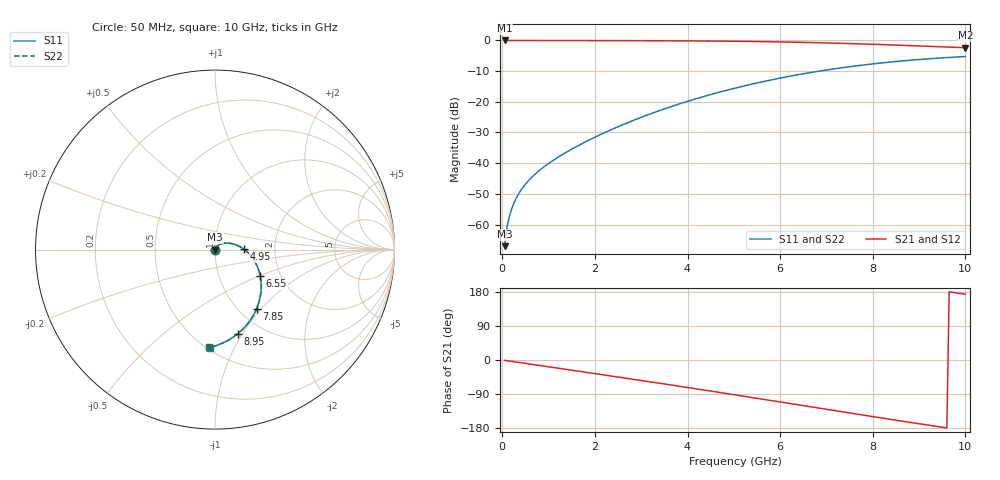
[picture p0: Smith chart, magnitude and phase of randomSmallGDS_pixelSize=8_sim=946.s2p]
! freq	dB(S11)	phase(S11)	dB(S12)	phase(S12)
!  dB(S21)	phase(S21)	dB(S22)	phase(S22)
!S-par simulation data
#  GHz  S  DB  R 50
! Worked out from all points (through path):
!   200 points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, 50 MHz to 10 GHz, reference 50 ohm
!   highest |S21| = 0.00 dB at 50 MHz (marker M1); lowest = -2.4 dB at 10 GHz (marker M2)
!   group delay of S21, straight-line fit = 52.3 ps
!   lowest |S11| = -67.0 dB at 50 MHz (marker M3), VSWR 1.00, Z = 50 + j0.0442 ohm
!   |S11| at or under -10 dB: start of sweep to 6.841 GHz
!   |S22| runs from -67.0 to -5.3 dB; largest |S21 - S12| = 0
!   S11 on the Smith chart (normalised r, x): 50 MHz: 1.00, +0.00; 4.95 GHz: 1.39, +0.01; 6.55 GHz: 1.58, -0.50; 7.85 GHz: 1.20, -0.94; 8.95 GHz: 0.78, -0.95; 10 GHz: 0.52, -0.80
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0.05  -67.05 83.8  -0.00 -0.9  -0.00 -0.9  -67.05 83.8
0.1  -61.05 85.6  -0.00 -1.8  -0.00 -1.8  -61.05 85.6
0.15  -57.52 85.6  -0.00 -2.7  -0.00 -2.7  -57.52 85.6
0.2  -55.01 85.1  -0.00 -3.6  -0.00 -3.6  -55.01 85.1
0.3  -51.44 83.8  -0.00 -5.4  -0.00 -5.4  -51.44 83.8
0.45  -47.80 81.5  -0.01 -8.1  -0.01 -8.1  -47.80 81.5
0.65  -44.40 78.2  -0.01 -11.7  -0.01 -11.7  -44.39 78.2
0.95  -40.63 73.3  -0.02 -17.0  -0.02 -17.0  -40.63 73.3
1.75  -33.41 59.8  -0.04 -31.4  -0.04 -31.4  -33.41 59.8
2.55  -27.79 45.5  -0.06 -45.8  -0.06 -45.8  -27.79 45.5
3.4  -22.84 29.9  -0.10 -61.4  -0.10 -61.4  -22.84 29.9
4.2  -18.93 14.9  -0.16 -76.3  -0.16 -76.3  -18.93 14.9
4.95  -15.83 0.7  -0.25 -90.5  -0.25 -90.5  -15.83 0.6
5.05  -15.45 -1.3  -0.27 -92.4  -0.27 -92.4  -15.45 -1.3
5.8  -12.87 -15.6  -0.42 -106.9  -0.42 -106.9  -12.87 -15.6
6.55  -10.73 -30.1  -0.63 -121.4  -0.63 -121.4  -10.73 -30.1
6.7  -10.34 -32.9  -0.68 -124.3  -0.68 -124.3  -10.34 -33.0
7.3  -8.97 -44.4  -0.92 -136.0  -0.92 -136.0  -8.97 -44.4
7.85  -7.90 -54.8  -1.17 -146.6  -1.17 -146.6  -7.90 -54.8
8.35  -7.08 -64.0  -1.43 -156.1  -1.43 -156.1  -7.08 -64.0
8.95  -6.27 -74.9  -1.76 -167.3  -1.76 -167.3  -6.27 -74.9
10  -5.25 -93.2  -2.37 173.6  -2.37 173.6  -5.25 -93.2
